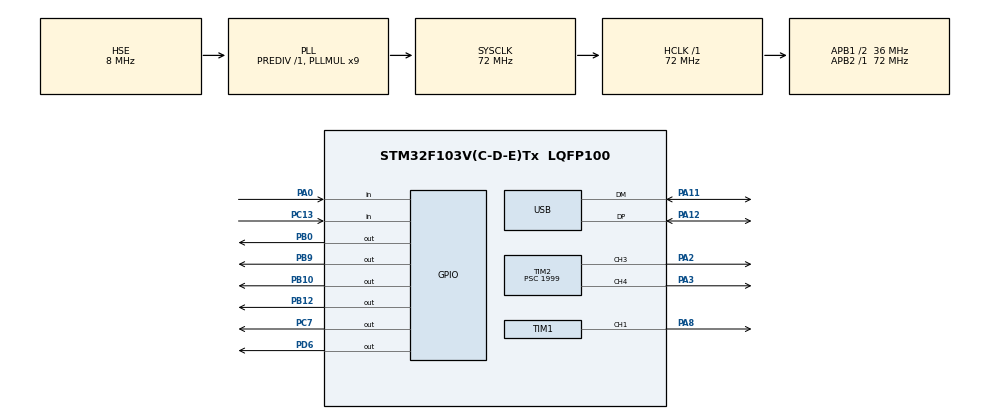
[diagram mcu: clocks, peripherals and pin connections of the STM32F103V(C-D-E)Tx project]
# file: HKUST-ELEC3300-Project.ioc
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Mcu.Family=STM32F1
Mcu.Name=STM32F103V(C-D-E)Tx
Mcu.Package=LQFP100
NVIC.PriorityGroup=NVIC_PRIORITYGROUP_4
NVIC.USB_LP_CAN1_RX0_IRQn=true\:0\:0\:false\:false\:true\:false\:true\:true
OSC_IN.Mode=HSE-External-Oscillator
OSC_IN.Signal=RCC_OSC_IN
OSC_OUT.Mode=HSE-External-Oscillator
OSC_OUT.Signal=RCC_OSC_OUT
PA0-WKUP.Signal=GPIO_Input
PA11.Mode=Device
PA11.Signal=USB_DM
PA12.Mode=Device
PA12.Signal=USB_DP
PA13.Mode=Serial_Wire
PA13.Signal=SYS_JTMS-SWDIO
PA14.Mode=Serial_Wire
PA14.Signal=SYS_JTCK-SWCLK
PA2.Signal=S_TIM2_CH3
PA3.Signal=S_TIM2_CH4
PA8.Signal=S_TIM1_CH1
PB0.Signal=GPIO_Output
PB10.GPIO_ModeDefaultOutputPP=GPIO_MODE_OUTPUT_PP
PB10.GPIO_PuPd=GPIO_NOPULL
PB10.Signal=GPIO_Output
PB12.GPIO_ModeDefaultOutputPP=GPIO_MODE_OUTPUT_PP
PB12.GPIO_PuPd=GPIO_NOPULL
PB12.Signal=GPIO_Output
PB9.Signal=GPIO_Output
PC13-TAMPER-RTC.Signal=GPIO_Input
PC14-OSC32_IN.Mode=LSE-External-Oscillator
PC14-OSC32_IN.Signal=RCC_OSC32_IN
PC15-OSC32_OUT.Mode=LSE-External-Oscillator
PC15-OSC32_OUT.Signal=RCC_OSC32_OUT
PC7.GPIO_ModeDefaultOutputPP=GPIO_MODE_OUTPUT_PP
PC7.GPIO_PuPd=GPIO_NOPULL
PC7.Signal=GPIO_Output
PD6.Signal=GPIO_Output
ProjectManager.HeapSize=0x200
ProjectManager.StackSize=0x400
ProjectManager.TargetToolchain=CMake
RCC.AHBFreq_Value=72000000
RCC.APB1CLKDivider=RCC_HCLK_DIV2
RCC.APB1Freq_Value=36000000
RCC.APB1TimFreq_Value=72000000
RCC.APB2Freq_Value=72000000
RCC.APB2TimFreq_Value=72000000
RCC.HCLKFreq_Value=72000000
RCC.PLLMUL=RCC_PLL_MUL9
RCC.PLLSourceVirtual=RCC_PLLSOURCE_HSE
RCC.RCC_MCOSource=RCC_MCO1SOURCE_PLLCLK
RCC.SYSCLKFreq_VALUE=72000000
RCC.SYSCLKSource=RCC_SYSCLKSOURCE_PLLCLK
RCC.USBFreq_Value=48000000
RCC.USBPrescaler=RCC_USBCLKSOURCE_PLL_DIV1_5
SH.S_TIM1_CH1.0=TIM1_CH1,PWM Generation1 CH1
SH.S_TIM2_CH3.0=TIM2_CH3,PWM Generation3 CH3
SH.S_TIM2_CH4.0=TIM2_CH4,PWM Generation4 CH4
TIM1.Channel-PWM\ Generation1\ CH1=TIM_CHANNEL_1
TIM1.Period=71
TIM1.Prescaler=1999
TIM1.Pulse-PWM\ Generation1\ CH1=36
TIM2.Channel-PWM\ Generation3\ CH3=TIM_CHANNEL_3
TIM2.Channel-PWM\ Generation4\ CH4=TIM_CHANNEL_4
TIM2.Period=71
TIM2.Prescaler=1999
TIM2.Pulse-PWM\ Generation3\ CH3=36
TIM2.Pulse-PWM\ Generation4\ CH4=36
USB_DEVICE.CLASS_NAME_FS=CDC
USB_DEVICE.VirtualMode=Cdc
USB_DEVICE.VirtualModeFS=Cdc_FS
VP_TIM1_VS_ClockSourceINT.Mode=Internal
VP_TIM2_VS_ClockSourceINT.Mode=Internal
VP_USB_DEVICE_VS_USB_DEVICE_CDC_FS.Mode=CDC_FS
board=custom

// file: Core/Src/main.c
/* USER CODE BEGIN Header */
/**
 ******************************************************************************
 * @file           : main.c
 * @brief          : Main program body
 ******************************************************************************
 * @attention
 *
 * Copyright (c) 2025 STMicroelectronics.
 * All rights reserved.
 *
 * This software is licensed under terms that can be found in the LICENSE file
 * in the root directory of this software component.
 * If no LICENSE file comes with this software, it is provided AS-IS.
 *
 ******************************************************************************
 */
/* USER CODE END Header */
#include "main.h"
#include "usb_device.h"

/* USER CODE BEGIN Includes */
#include <math.h>
#include <stdbool.h>
#include <stdlib.h>
#include <string.h>
#include "usbd_cdc_if.h"
#include "cJSON.h"
/* USER CODE END Includes */

/* USER CODE BEGIN PTD */

// Data structures for character information
// Data hierarchy:
// Document -> Segment -> Character -> Stroke -> Point
struct Point
{
  float x;
  float y;
}; // Point structure to represent coordinates

struct Stroke
{
  struct Point *points;
  int pointCount;
}; // Stroke structure to represent a series of points

struct Character
{
  bool is_line_feed;
  float advance_width;
  float left_side_bearing;
  struct Stroke *strokes;
  int strokeCount;
}; // Character structure to represent a character with its strokes

struct Segment
{
  float ascender;
  float descender;
  float line_gap;
  float paragraph_spacing;
  struct Character *characters;
  int characterCount;
}; // Segment structure to represent a segment of text with its characters

struct Document
{
  float page_width;
  float page_height;
  float top_margin;
  float bottom_margin;
  float left_margin;
  float right_margin;
  struct Segment *segments;
  int segmentCount;
}; // Document structure to represent a document with its segments

/* USER CODE END PTD */

/* USER CODE BEGIN PD */

// Motor directions
#define MOTOR_L_DIR GPIO_PIN_10 // B10
#define MOTOR_L_STEP GPIO_PIN_2 // A2
#define MOTOR_R_DIR GPIO_PIN_9  // B9
#define MOTOR_R_STEP GPIO_PIN_3 // A3
#define MOTOR_Z_DIR GPIO_PIN_12 // B12
#define MOTOR_Z_STEP GPIO_PIN_8 // A8

#define DIR_CW GPIO_PIN_SET
#define DIR_CCW GPIO_PIN_RESET
// #define DIR_STOP

#define DFLT_STEP_T 1
#define DFLT_STEP_FREQ 1000
#define DFLT_STEP_CYCLE 50

/* USER CODE END PD */

TIM_HandleTypeDef htim1;
TIM_HandleTypeDef htim2;

/* USER CODE BEGIN PV */

int32_t Global_X = 0;
int32_t Global_Y = 0;
// may use
// int32_t Relative_X = 0;
// int32_t Relative_Y = 0;

struct Document *currentDoc = NULL;
struct Character *currentChar = NULL;

float Doc_Global_X = 0;
float Doc_Global_Y = 0;
float scale = 5;
bool exceedLimit = false;

/* USER CODE END PV */

void SystemClock_Config(void);
static void MX_GPIO_Init(void);
static void MX_TIM1_Init(void);
static void MX_TIM2_Init(void);
/* USER CODE BEGIN PFP */
void penup();
void pendown();
void legacyMove(uint8_t direction, uint32_t time, uint8_t draw);

void moveToXY(float delta_X, float delta_Y);
void moveAngle(float distance, float angle);
void moveToAbsoluteXY(int32_t target_X, int32_t target_Y);
void motorControl(int32_t delta_MotorL, int32_t delta_MotorR);
void updateGlobalXY(float delta_X, float delta_Y);

// DISCARED: due to very limited ram in the stm32 chip,
//           it is impossible to allocate a large array for the document

// void drawDocument(struct Document *document);
// void drawSegment(struct Segment *segment, float *Global_X, float *Global_Y, float page_width, float page_height, float top_margin, float bottom_margin, float left_margin, float right_margin, float scale);
void drawCharacter(struct Character *character, float startX, float startY, float scale);
void drawStroke(struct Stroke *stroke);

void freeAllData(struct Document *document);
void freeDocument(struct Document *document);
void freeSegment(struct Segment *segment);
void freeCharacter(struct Character *character);
void freeStroke(struct Stroke *stroke);

bool initDocument(struct Document *document, float page_width, float page_height, float top_margin, float bottom_margin, float left_margin, float right_margin, struct Segment *segments, int segmentCount);
bool initSegment(struct Segment *segment, float ascender, float descender, float line_gap, float paragraph_spacing, struct Character *characters, int characterCount);
bool initCharacter(struct Character *character, bool is_line_feed, float advance_width, float left_side_bearing, struct Stroke *strokes, int strokeCount);
bool initStroke(struct Stroke *stroke, struct Point *points, int pointCount);

void drawFu();
void drawCircle();
void drawRegularPentagon();
// void drawOneStrokeFromDoc();

bool parseDocument(struct Document *document, cJSON *json);
bool parseSegment(struct Segment *segment, cJSON *json);
bool parseCharacter(struct Character *character, cJSON *json);
void processInfo(uint8_t *buffer, uint16_t length);
void processChar(uint8_t *buffer, uint16_t length);
// void processRpcRequest(uint8_t *buffer, uint16_t length);
/* USER CODE END PFP */

int main(void)
{

  /* MCU Configuration--------------------------------------------------------*/

  /* Reset of all peripherals, Initializes the Flash interface and the Systick. */
  HAL_Init();

  /* Configure the system clock */
  SystemClock_Config();

  /* Initialize all configured peripherals */
  MX_GPIO_Init();
  MX_TIM1_Init();
  MX_TIM2_Init();
  MX_USB_DEVICE_Init();
  /* USER CODE BEGIN 2 */
  HAL_GPIO_WritePin(GPIOB, GPIO_PIN_0, GPIO_PIN_SET);
  HAL_GPIO_WritePin(GPIOC, GPIO_PIN_7, GPIO_PIN_RESET); // enable
  penup();
  moveToXY(100, 0);
  moveToXY(-100, 0);
  moveToXY(0, -100);
  moveToXY(0, 100);
  pendown();
  HAL_GPIO_WritePin(GPIOC, GPIO_PIN_7, GPIO_PIN_SET); // disable
  /* USER CODE END 2 */

  /* Infinite loop */
  /* USER CODE BEGIN WHILE */
  while (1)
  {
    // 写字结束 // Anchor
    if ((!infoReceived && currentDoc != NULL) || exceedLimit)
    {
      freeAllData(currentDoc);
      currentDoc = NULL;
      if (currentChar != NULL)
      {
        freeCharacter(currentChar);
        free(currentChar);
        currentChar = NULL;
      }
      charBufferIndex = 0;
      infoBufferIndex = 0;
      Global_X = 0;
      Global_Y = 0;
      Doc_Global_X = 0;
      Doc_Global_Y = 0;
      infoReceived = false;
      charReceived = false; // Fix? : charReceived was never reset
      exceedLimit = false;
      HAL_GPIO_WritePin(GPIOB, GPIO_PIN_0, GPIO_PIN_SET); // LED off
      HAL_GPIO_WritePin(GPIOC, GPIO_PIN_7, GPIO_PIN_SET); // disable
    }
    // 刚接收完 info
    if (infoReceived && currentDoc == NULL && !charReceived)
    {
      processInfo(infoBuffer, infoBufferIndex);
      infoBufferIndex = 0;
      HAL_GPIO_WritePin(GPIOC, GPIO_PIN_7, GPIO_PIN_RESET); // enable
      HAL_GPIO_WritePin(GPIOB, GPIO_PIN_0, GPIO_PIN_RESET); // LED on
      // 以下仿照 drawDocuments 函数
      Doc_Global_X = currentDoc->left_margin;
      Doc_Global_Y = -(currentDoc->top_margin);
      penup();
      charBufferIndex = 0;
      CDC_Transmit_FS(READY, 6);
    }
    // 刚接收完 char
    if (infoReceived && currentDoc != NULL && charReceived)
    {
      processChar(charBuffer, charBufferIndex);
      charBufferIndex = 0;
      // 以下仿照 drawSegments 函数
      Doc_Global_Y -= currentDoc->segments[0].ascender;
      // 超出右边距或者字符是回车，换行
      if (Doc_Global_X + currentChar->advance_width >= currentDoc->page_width - currentDoc->right_margin || currentChar->is_line_feed)
      {
        Doc_Global_X = currentDoc->left_margin;
        Doc_Global_Y -= (currentDoc->segments[0].ascender + currentDoc->segments[0].descender + currentDoc->segments[0].line_gap);
        // 超出 bottom_margin，准备结束
        if (Doc_Global_Y - currentDoc->segments[0].descender < -(currentDoc->page_height - currentDoc->bottom_margin))
        {
          if (currentChar != NULL)
          {
            freeCharacter(currentChar);
            free(currentChar);
            currentChar = NULL;
          }
          charReceived = false;
          exceedLimit = true;
          continue;
        }
      }
      // 超出右边距也不能吞字
      if (!(currentChar->is_line_feed))
      {
        drawCharacter(currentChar, Doc_Global_X, Doc_Global_Y, scale);
        Doc_Global_X += currentChar->advance_width;
      }
      Doc_Global_Y += currentDoc->segments[0].ascender;
      if (currentChar != NULL)
      {
        freeCharacter(currentChar);
        free(currentChar);
        currentChar = NULL;
      }
      charReceived = false;
      CDC_Transmit_FS(READY, 6);
    }
    if (HAL_GPIO_ReadPin(GPIOA, GPIO_PIN_0))
    {
      drawFu();
      Global_X = 0;
      Global_Y = 0;
      Doc_Global_X = 0;
      Doc_Global_Y = 0;
    }
    if (HAL_GPIO_ReadPin(GPIOC, GPIO_PIN_13))
    {
      drawCircle();
      drawRegularPentagon();
      Global_X = 0;
      Global_Y = 0;
      Doc_Global_X = 0;
      Doc_Global_Y = 0;
    }
    /* USER CODE END WHILE */

  }
}

void SystemClock_Config(void)
{
  RCC_OscInitTypeDef RCC_OscInitStruct = {0};
  RCC_ClkInitTypeDef RCC_ClkInitStruct = {0};
  RCC_PeriphCLKInitTypeDef PeriphClkInit = {0};

  /** Initializes the RCC Oscillators according to the specified parameters
  * in the RCC_OscInitTypeDef structure.
  */
  RCC_OscInitStruct.OscillatorType = RCC_OSCILLATORTYPE_HSE;
  RCC_OscInitStruct.HSEState = RCC_HSE_ON;
  RCC_OscInitStruct.HSEPredivValue = RCC_HSE_PREDIV_DIV1;
  RCC_OscInitStruct.HSIState = RCC_HSI_ON;
  RCC_OscInitStruct.PLL.PLLState = RCC_PLL_ON;
  RCC_OscInitStruct.PLL.PLLSource = RCC_PLLSOURCE_HSE;
  RCC_OscInitStruct.PLL.PLLMUL = RCC_PLL_MUL9;
  if (HAL_RCC_OscConfig(&RCC_OscInitStruct) != HAL_OK)
  {
    Error_Handler();
  }

  /** Initializes the CPU, AHB and APB buses clocks
  */
  RCC_ClkInitStruct.ClockType = RCC_CLOCKTYPE_HCLK|RCC_CLOCKTYPE_SYSCLK
                              |RCC_CLOCKTYPE_PCLK1|RCC_CLOCKTYPE_PCLK2;
  RCC_ClkInitStruct.SYSCLKSource = RCC_SYSCLKSOURCE_PLLCLK;
  RCC_ClkInitStruct.AHBCLKDivider = RCC_SYSCLK_DIV1;
  RCC_ClkInitStruct.APB1CLKDivider = RCC_HCLK_DIV2;
  RCC_ClkInitStruct.APB2CLKDivider = RCC_HCLK_DIV1;

  if (HAL_RCC_ClockConfig(&RCC_ClkInitStruct, FLASH_LATENCY_2) != HAL_OK)
  {
    Error_Handler();
  }
  PeriphClkInit.PeriphClockSelection = RCC_PERIPHCLK_USB;
  PeriphClkInit.UsbClockSelection = RCC_USBCLKSOURCE_PLL_DIV1_5;
  if (HAL_RCCEx_PeriphCLKConfig(&PeriphClkInit) != HAL_OK)
  {
    Error_Handler();
  }
}

static void MX_TIM1_Init(void)
{

  TIM_ClockConfigTypeDef sClockSourceConfig = {0};
  TIM_MasterConfigTypeDef sMasterConfig = {0};
  TIM_OC_InitTypeDef sConfigOC = {0};
  TIM_BreakDeadTimeConfigTypeDef sBreakDeadTimeConfig = {0};

  htim1.Instance = TIM1;
  htim1.Init.Prescaler = 1999;
  htim1.Init.CounterMode = TIM_COUNTERMODE_UP;
  htim1.Init.Period = 71;
  htim1.Init.ClockDivision = TIM_CLOCKDIVISION_DIV1;
  htim1.Init.RepetitionCounter = 0;
  htim1.Init.AutoReloadPreload = TIM_AUTORELOAD_PRELOAD_DISABLE;
  if (HAL_TIM_Base_Init(&htim1) != HAL_OK)
  {
    Error_Handler();
  }
  sClockSourceConfig.ClockSource = TIM_CLOCKSOURCE_INTERNAL;
  if (HAL_TIM_ConfigClockSource(&htim1, &sClockSourceConfig) != HAL_OK)
  {
    Error_Handler();
  }
  if (HAL_TIM_PWM_Init(&htim1) != HAL_OK)
  {
    Error_Handler();
  }
  sMasterConfig.MasterOutputTrigger = TIM_TRGO_RESET;
  sMasterConfig.MasterSlaveMode = TIM_MASTERSLAVEMODE_DISABLE;
  if (HAL_TIMEx_MasterConfigSynchronization(&htim1, &sMasterConfig) != HAL_OK)
  {
    Error_Handler();
  }
  sConfigOC.OCMode = TIM_OCMODE_PWM1;
  sConfigOC.Pulse = 36;
  sConfigOC.OCPolarity = TIM_OCPOLARITY_HIGH;
  sConfigOC.OCNPolarity = TIM_OCNPOLARITY_HIGH;
  sConfigOC.OCFastMode = TIM_OCFAST_DISABLE;
  sConfigOC.OCIdleState = TIM_OCIDLESTATE_RESET;
  sConfigOC.OCNIdleState = TIM_OCNIDLESTATE_RESET;
  if (HAL_TIM_PWM_ConfigChannel(&htim1, &sConfigOC, TIM_CHANNEL_1) != HAL_OK)
  {
    Error_Handler();
  }
  sBreakDeadTimeConfig.OffStateRunMode = TIM_OSSR_DISABLE;
  sBreakDeadTimeConfig.OffStateIDLEMode = TIM_OSSI_DISABLE;
  sBreakDeadTimeConfig.LockLevel = TIM_LOCKLEVEL_OFF;
  sBreakDeadTimeConfig.DeadTime = 0;
  sBreakDeadTimeConfig.BreakState = TIM_BREAK_DISABLE;
  sBreakDeadTimeConfig.BreakPolarity = TIM_BREAKPOLARITY_HIGH;
  sBreakDeadTimeConfig.AutomaticOutput = TIM_AUTOMATICOUTPUT_DISABLE;
  if (HAL_TIMEx_ConfigBreakDeadTime(&htim1, &sBreakDeadTimeConfig) != HAL_OK)
  {
    Error_Handler();
  }
  HAL_TIM_MspPostInit(&htim1);

}

static void MX_TIM2_Init(void)
{

  TIM_ClockConfigTypeDef sClockSourceConfig = {0};
  TIM_MasterConfigTypeDef sMasterConfig = {0};
  TIM_OC_InitTypeDef sConfigOC = {0};

  htim2.Instance = TIM2;
  htim2.Init.Prescaler = 1999;
  htim2.Init.CounterMode = TIM_COUNTERMODE_UP;
  htim2.Init.Period = 71;
  htim2.Init.ClockDivision = TIM_CLOCKDIVISION_DIV1;
  htim2.Init.AutoReloadPreload = TIM_AUTORELOAD_PRELOAD_DISABLE;
  if (HAL_TIM_Base_Init(&htim2) != HAL_OK)
  {
    Error_Handler();
  }
  sClockSourceConfig.ClockSource = TIM_CLOCKSOURCE_INTERNAL;
  if (HAL_TIM_ConfigClockSource(&htim2, &sClockSourceConfig) != HAL_OK)
  {
    Error_Handler();
  }
  if (HAL_TIM_PWM_Init(&htim2) != HAL_OK)
  {
    Error_Handler();
  }
  sMasterConfig.MasterOutputTrigger = TIM_TRGO_RESET;
  sMasterConfig.MasterSlaveMode = TIM_MASTERSLAVEMODE_DISABLE;
  if (HAL_TIMEx_MasterConfigSynchronization(&htim2, &sMasterConfig) != HAL_OK)
  {
    Error_Handler();
  }
  sConfigOC.OCMode = TIM_OCMODE_PWM1;
  sConfigOC.Pulse = 36;
  sConfigOC.OCPolarity = TIM_OCPOLARITY_HIGH;
  sConfigOC.OCFastMode = TIM_OCFAST_DISABLE;
  if (HAL_TIM_PWM_ConfigChannel(&htim2, &sConfigOC, TIM_CHANNEL_3) != HAL_OK)
  {
    Error_Handler();
  }
  if (HAL_TIM_PWM_ConfigChannel(&htim2, &sConfigOC, TIM_CHANNEL_4) != HAL_OK)
  {
    Error_Handler();
  }
  HAL_TIM_MspPostInit(&htim2);

}

static void MX_GPIO_Init(void)
{
  GPIO_InitTypeDef GPIO_InitStruct = {0};

  /* GPIO Ports Clock Enable */
  __HAL_RCC_GPIOC_CLK_ENABLE();
  __HAL_RCC_GPIOA_CLK_ENABLE();
  __HAL_RCC_GPIOB_CLK_ENABLE();
  __HAL_RCC_GPIOD_CLK_ENABLE();

  /*Configure GPIO pin Output Level */
  HAL_GPIO_WritePin(GPIOB, GPIO_PIN_0|GPIO_PIN_10|GPIO_PIN_12|GPIO_PIN_9, GPIO_PIN_RESET);

  /*Configure GPIO pin Output Level */
  HAL_GPIO_WritePin(GPIOC, GPIO_PIN_7, GPIO_PIN_RESET);

  /*Configure GPIO pin Output Level */
  HAL_GPIO_WritePin(GPIOD, GPIO_PIN_6, GPIO_PIN_RESET);

  /*Configure GPIO pin : PC13 */
  GPIO_InitStruct.Pin = GPIO_PIN_13;
  GPIO_InitStruct.Mode = GPIO_MODE_INPUT;
  GPIO_InitStruct.Pull = GPIO_NOPULL;
  HAL_GPIO_Init(GPIOC, &GPIO_InitStruct);

  /*Configure GPIO pin : PA0 */
  GPIO_InitStruct.Pin = GPIO_PIN_0;
  GPIO_InitStruct.Mode = GPIO_MODE_INPUT;
  GPIO_InitStruct.Pull = GPIO_NOPULL;
  HAL_GPIO_Init(GPIOA, &GPIO_InitStruct);

  /*Configure GPIO pins : PB0 PB10 PB12 PB9 */
  GPIO_InitStruct.Pin = GPIO_PIN_0|GPIO_PIN_10|GPIO_PIN_12|GPIO_PIN_9;
  GPIO_InitStruct.Mode = GPIO_MODE_OUTPUT_PP;
  GPIO_InitStruct.Pull = GPIO_NOPULL;
  GPIO_InitStruct.Speed = GPIO_SPEED_FREQ_LOW;
  HAL_GPIO_Init(GPIOB, &GPIO_InitStruct);

  /*Configure GPIO pin : PC7 */
  GPIO_InitStruct.Pin = GPIO_PIN_7;
  GPIO_InitStruct.Mode = GPIO_MODE_OUTPUT_PP;
  GPIO_InitStruct.Pull = GPIO_NOPULL;
  GPIO_InitStruct.Speed = GPIO_SPEED_FREQ_LOW;
  HAL_GPIO_Init(GPIOC, &GPIO_InitStruct);

  /*Configure GPIO pin : PD6 */
  GPIO_InitStruct.Pin = GPIO_PIN_6;
  GPIO_InitStruct.Mode = GPIO_MODE_OUTPUT_PP;
  GPIO_InitStruct.Pull = GPIO_NOPULL;
  GPIO_InitStruct.Speed = GPIO_SPEED_FREQ_LOW;
  HAL_GPIO_Init(GPIOD, &GPIO_InitStruct);

}

/* USER CODE BEGIN 4 */

//
// Discrete stepper motor control
//

void drawFu()
{
  HAL_GPIO_WritePin(GPIOC, GPIO_PIN_7, GPIO_PIN_RESET); // enable

  // legacyMove(3, 3000, 1);
  moveAngle(375, 315);
  HAL_TIM_PWM_Start(&htim1, TIM_CHANNEL_1);
  HAL_Delay(5);
  HAL_TIM_PWM_Stop(&htim1, TIM_CHANNEL_1);
  HAL_Delay(45);
  // legacyMove(5, 3000, 1);
  moveAngle(375, 225);
  HAL_TIM_PWM_Start(&htim1, TIM_CHANNEL_1);
  HAL_Delay(5);
  HAL_TIM_PWM_Stop(&htim1, TIM_CHANNEL_1);
  HAL_Delay(45);
  // legacyMove(7, 3000, 1);
  moveAngle(375, 135);
  HAL_TIM_PWM_Start(&htim1, TIM_CHANNEL_1);
  HAL_Delay(5);
  HAL_TIM_PWM_Stop(&htim1, TIM_CHANNEL_1);
  HAL_Delay(45);
  // legacyMove(1, 3000, 1);
  moveAngle(375, 45);
  HAL_TIM_PWM_Start(&htim1, TIM_CHANNEL_1);
  HAL_Delay(5);
  HAL_TIM_PWM_Stop(&htim1, TIM_CHANNEL_1);
  HAL_Delay(45);

  penup();
  HAL_Delay(50);
  // legacyMove(4, 871, 0);
  moveAngle(174, 270);
  HAL_Delay(50);
  // legacyMove(6, 400, 0);
  moveAngle(80, 180);
  HAL_Delay(50);

  pendown();
  HAL_Delay(50);
  // legacyMove(2, 300, 1);
  moveAngle(60, 0);
  HAL_Delay(50);

  penup();
  HAL_Delay(50);
  // legacyMove(4, 200, 0);
  moveAngle(40, 270);
  HAL_Delay(50);
  // legacyMove(6, 450, 0);
  moveAngle(90, 180);
  HAL_Delay(50);

  pendown();
  HAL_Delay(50);
  // legacyMove(2, 500, 1);
  moveAngle(100, 0);
  HAL_Delay(50);

  penup();
  HAL_Delay(50);
  // legacyMove(6, 200, 0);
  moveAngle(40, 180);
  HAL_Delay(50);

  pendown();
  HAL_Delay(50);
  // legacyMove(4, 900, 1);
  moveAngle(180, 270);
  HAL_Delay(50);

  penup();
  HAL_Delay(50);
  // legacyMove(0, 650, 0);
  moveAngle(130, 90);
  HAL_Delay(50);
  // legacyMove(6, 150, 0);
  moveAngle(50, 180);
  HAL_Delay(50);

  pendown();
  HAL_Delay(50);
  // legacyMove(4, 350, 1);
  moveAngle(70, 270);
  HAL_Delay(50);

  penup();
  HAL_Delay(50);
  // legacyMove(0, 350, 0);
  moveAngle(70, 90);
  HAL_Delay(50);
  // legacyMove(2, 300, 0);
  moveAngle(60, 0);
  HAL_Delay(50);

  pendown();
  HAL_Delay(50);
  // legacyMove(4, 350, 1);
  moveAngle(70, 270);
  HAL_Delay(50);

  penup();
  HAL_Delay(50);
  // legacyMove(2, 200, 0);
  moveAngle(40, 0);
  HAL_Delay(50);
  // legacyMove(0, 825, 0);
  moveAngle(165, 90);
  HAL_Delay(50);

  pendown();
  HAL_Delay(50);
  // legacyMove(2, 400, 1);
  moveAngle(80, 0);
  HAL_Delay(50);

  penup();
  HAL_Delay(50);
  // legacyMove(6, 50, 0);
  moveAngle(10, 180);
  HAL_Delay(50);
  // legacyMove(4, 150, 0);
  moveAngle(30, 270);
  HAL_Delay(50);

  pendown();
  HAL_Delay(50);
  // legacyMove(4, 200, 1);
  moveAngle(40, 270);
  HAL_Delay(50);
  // legacyMove(6, 300, 1);
  moveAngle(60, 180);
  HAL_Delay(50);
  // legacyMove(0, 200, 1);
  moveAngle(40, 90);
  HAL_Delay(50);
  // legacyMove(2, 300, 1);
  moveAngle(60, 0);
  HAL_Delay(50);

  penup();
  HAL_Delay(50);
  // legacyMove(4, 350, 0);
  moveAngle(70, 270);
  HAL_Delay(50);
  // legacyMove(2, 100, 0);
  moveAngle(20, 0);
  HAL_Delay(150);

  pendown();
  HAL_Delay(50);
  // legacyMove(4, 500, 1);
  moveAngle(100, 270);
  HAL_Delay(50);
  // legacyMove(6, 500, 1);
  moveAngle(100, 180);
  HAL_Delay(50);
  // legacyMove(0, 500, 1);
  moveAngle(100, 90);
  HAL_Delay(50);
  // legacyMove(2, 500, 1);
  moveAngle(100, 0);
  HAL_Delay(50);

  penup();
  HAL_Delay(50);
  // legacyMove(6, 500, 0);
  moveAngle(100, 180);
  HAL_Delay(50);
  // legacyMove(4, 225, 0);
  moveAngle(45, 270);
  HAL_Delay(50);

  pendown();
  HAL_Delay(50);
  // legacyMove(2, 500, 1);
  moveAngle(100, 0);
  HAL_Delay(50);

  penup();
  HAL_Delay(50);
  // legacyMove(0, 225, 0);
  moveAngle(45, 90);
  HAL_Delay(50);
  // legacyMove(6, 225, 0);
  moveAngle(45, 180);
  HAL_Delay(50);

  pendown();
  HAL_Delay(50);
  // legacyMove(4, 500, 1);
  moveAngle(100, 270);

  HAL_GPIO_WritePin(GPIOC, GPIO_PIN_7, GPIO_PIN_SET); // disable
}

void drawCircle()
{
  HAL_GPIO_WritePin(GPIOC, GPIO_PIN_7, GPIO_PIN_RESET); // enable

  for (int i = 0; i < 180; i++)
  {
    if (!(i % 30))
    {
      HAL_GPIO_WritePin(GPIOB, MOTOR_Z_DIR, GPIO_PIN_SET);
      HAL_TIM_PWM_Start(&htim1, TIM_CHANNEL_1);
      HAL_Delay(5);
      HAL_TIM_PWM_Stop(&htim1, TIM_CHANNEL_1);
    }
    moveAngle(5, i * 2);
  }

  HAL_GPIO_WritePin(GPIOC, GPIO_PIN_7, GPIO_PIN_SET); // disable
}

void drawRegularPentagon()
{
  HAL_GPIO_WritePin(GPIOC, GPIO_PIN_7, GPIO_PIN_RESET); // enable

  for (int i = 0; i < 5; i++)
  {
    HAL_GPIO_WritePin(GPIOB, MOTOR_Z_DIR, GPIO_PIN_SET);
    HAL_TIM_PWM_Start(&htim1, TIM_CHANNEL_1);
    HAL_Delay(5);
    HAL_TIM_PWM_Stop(&htim1, TIM_CHANNEL_1);
    moveAngle(160, (float)i * 360 / 5);
  }

  HAL_GPIO_WritePin(GPIOC, GPIO_PIN_7, GPIO_PIN_SET); // disable
}

void penup()
{
  HAL_GPIO_WritePin(GPIOB, MOTOR_Z_DIR, GPIO_PIN_RESET);
  HAL_TIM_PWM_Start(&htim1, TIM_CHANNEL_1);
  HAL_Delay(100);
  HAL_TIM_PWM_Stop(&htim1, TIM_CHANNEL_1);
}

void pendown()
{
  HAL_GPIO_WritePin(GPIOB, MOTOR_Z_DIR, GPIO_PIN_SET);
  HAL_TIM_PWM_Start(&htim1, TIM_CHANNEL_1);
  HAL_Delay(100);
  HAL_TIM_PWM_Stop(&htim1, TIM_CHANNEL_1);
}

void legacyMove(uint8_t direction, uint32_t time, uint8_t draw)
{
  uint32_t tick = HAL_GetTick();
  if (draw)
  {
    HAL_GPIO_WritePin(GPIOB, GPIO_PIN_10, GPIO_PIN_SET);
    while (HAL_GetTick() - tick < 5)
    {
      HAL_GPIO_TogglePin(GPIOB, GPIO_PIN_11);
      HAL_Delay(1);
    }
  }
  switch (direction)
  {
  // 上
  case 0:
    HAL_GPIO_WritePin(GPIOB, GPIO_PIN_14, GPIO_PIN_RESET);
    HAL_GPIO_WritePin(GPIOB, GPIO_PIN_12, GPIO_PIN_SET);
    while (HAL_GetTick() - tick < time + 50)
    {
      HAL_GPIO_TogglePin(GPIOB, GPIO_PIN_15);
      HAL_GPIO_TogglePin(GPIOB, GPIO_PIN_13);
      HAL_Delay(1);
    }
    break;

  // 右上 1
  case 1:
    HAL_GPIO_WritePin(GPIOB, GPIO_PIN_12, GPIO_PIN_SET);
    while (HAL_GetTick() - tick < time + 50)
    {
      HAL_GPIO_TogglePin(GPIOB, GPIO_PIN_13);
      HAL_Delay(1);
    }
    break;

  // 右
  case 2:
    HAL_GPIO_WritePin(GPIOB, GPIO_PIN_14, GPIO_PIN_SET);
    HAL_GPIO_WritePin(GPIOB, GPIO_PIN_12, GPIO_PIN_SET);
    while (HAL_GetTick() - tick < time + 50)
    {
      HAL_GPIO_TogglePin(GPIOB, GPIO_PIN_15);
      HAL_GPIO_TogglePin(GPIOB, GPIO_PIN_13);
      HAL_Delay(1);
    }
    break;

  // 右下 1
  case 3:
    HAL_GPIO_WritePin(GPIOB, GPIO_PIN_14, GPIO_PIN_SET);
    while (HAL_GetTick() - tick < time + 50)
    {
      HAL_GPIO_TogglePin(GPIOB, GPIO_PIN_15);
      HAL_Delay(1);
    }
    break;

  // 下
  case 4:
    HAL_GPIO_WritePin(GPIOB, GPIO_PIN_14, GPIO_PIN_SET);
    HAL_GPIO_WritePin(GPIOB, GPIO_PIN_12, GPIO_PIN_RESET);
    while (HAL_GetTick() - tick < time + 50)
    {
      HAL_GPIO_TogglePin(GPIOB, GPIO_PIN_15);
      HAL_GPIO_TogglePin(GPIOB, GPIO_PIN_13);
      HAL_Delay(1);
    }
    break;

  // 左下
  case 5:
    HAL_GPIO_WritePin(GPIOB, GPIO_PIN_12, GPIO_PIN_RESET);
    while (HAL_GetTick() - tick < time + 50)
    {
      HAL_GPIO_TogglePin(GPIOB, GPIO_PIN_13);
      HAL_Delay(1);
    }
    break;

  // 左
  case 6:
    HAL_GPIO_WritePin(GPIOB, GPIO_PIN_14, GPIO_PIN_RESET);
    HAL_GPIO_WritePin(GPIOB, GPIO_PIN_12, GPIO_PIN_RESET);
    while (HAL_GetTick() - tick < time + 50)
    {
      HAL_GPIO_TogglePin(GPIOB, GPIO_PIN_15);
      HAL_GPIO_TogglePin(GPIOB, GPIO_PIN_13);
      HAL_Delay(1);
    }
    break;

  // 左上
  case 7:
    HAL_GPIO_WritePin(GPIOB, GPIO_PIN_14, GPIO_PIN_RESET);
    while (HAL_GetTick() - tick < time + 50)
    {
      HAL_GPIO_TogglePin(GPIOB, GPIO_PIN_15);
      HAL_Delay(1);
    }
    break;
  }
}

//
// Quick search:
// TODO; CAUTION; PROBLEM
// WARNING; BAD
// Update; Fix?
//

//
// Continuous (stepping) motor controls
//

// WARNING:
//  float are supported, but steps and Global Pos are int32_t, relative error will accumulate
void moveToXY(float delta_X, float delta_Y)
{
  // quantize to steps (default scenrio: L = CCW, R = STOP)
  int32_t delta_MotorL = (int32_t)(delta_X + delta_Y);
  int32_t delta_MotorR = (int32_t)(delta_X - delta_Y);

  motorControl(delta_MotorL, delta_MotorR);

  updateGlobalXY(delta_X, delta_Y);
}

void moveAngle(float distance, float angle)
{
  float delta_X = distance * cos(angle * M_PI / 180.0f);
  float delta_Y = distance * sin(angle * M_PI / 180.0f);

  moveToXY(delta_X, delta_Y);
}

void moveToAbsoluteXY(int32_t target_X, int32_t target_Y)
{
  // calculate deltas
  float delta_X = target_X - Global_X;
  float delta_Y = target_Y - Global_Y;

  moveToXY(delta_X, delta_Y);
}

void motorControl(int32_t delta_MotorL, int32_t delta_MotorR)
{
  // motor directions
  int8_t dirL = (delta_MotorL > 0) ? DIR_CW : DIR_CCW;
  int8_t dirR = (delta_MotorR > 0) ? DIR_CW : DIR_CCW;
  HAL_GPIO_WritePin(GPIOB, MOTOR_L_DIR, dirL);
  HAL_GPIO_WritePin(GPIOB, MOTOR_R_DIR, dirR);

  // absolute steps count // to determine which axis for base step
  int32_t stepsL = (delta_MotorL > 0) ? delta_MotorL : -delta_MotorL;
  int32_t stepsR = (delta_MotorR > 0) ? delta_MotorR : -delta_MotorR;
  int32_t maxSteps = (stepsL > stepsR) ? stepsL : stepsR;
  if (stepsL == 0 && stepsR == 0)
    return; // no movement

  // Activate PWM channels for hardware pulse generation
  HAL_TIM_PWM_Start(&htim2, TIM_CHANNEL_3); // motorL
  HAL_TIM_PWM_Start(&htim2, TIM_CHANNEL_4); // motorR
  // start with 0% duty cycle
  __HAL_TIM_SET_COMPARE(&htim2, TIM_CHANNEL_3, 0);
  __HAL_TIM_SET_COMPARE(&htim2, TIM_CHANNEL_4, 0);

  //
  int32_t remainingStepsL = stepsL;
  int32_t remainingStepsR = stepsR;

  // Bresenham's line algorithm
  // Basic:
  // move using unit-length of the longer axis, then apply change of the other axis with error accumulation.
  // set unit-length of the longer axis to aviod sharp jumps.
  // Mutation:
  // half steps for each and have the algo in both motor, error threshold is maxSteps.
  // check threshold for each, apply change and sutract error if threshold is reached.
  // increment absolute steps into error each iteration.
  int32_t error_L = maxSteps / 2;
  int32_t error_R = maxSteps / 2;

  for (int i = 0; i < maxSteps; i++)
  {
    bool motorL_working = false;
    bool motorR_working = false;

    // left motor should step?
    if (error_L >= stepsL)
    {
      if (remainingStepsL > 0)
      {
        // Lagacy: delay stepping
        // HAL_GPIO_WritePin(GPIOB, MOTOR_L_STEP, GPIO_PIN_SET);
        // HAL_Delay(DFLT_STEP_T);
        // HAL_GPIO_WritePin(GPIOB, MOTOR_L_STEP, GPIO_PIN_RESET);

        // PWM stepping
        motorL_working = true;
        remainingStepsL--;
      }
      error_L -= maxSteps;
    }
    // right motor should step?
    if (error_R >= stepsR)
    {
      if (remainingStepsR > 0)
      {
        // Lagacy: delay stepping
        // HAL_GPIO_WritePin(GPIOB, MOTOR_R_STEP, GPIO_PIN_SET);
        // HAL_Delay(DFLT_STEP_T);
        // HAL_GPIO_WritePin(GPIOB, MOTOR_R_STEP, GPIO_PIN_RESET);

        // PWM stepping
        motorR_working = true;
        remainingStepsR--;
      }
      error_R -= maxSteps;
    }
    // update error
    error_L += stepsL;
    error_R += stepsR;

    // PWM stepping
    if (motorL_working)
    {
      // PWM 50% (72)
      __HAL_TIM_SET_COMPARE(&htim2, TIM_CHANNEL_3, 36);
    }
    else
    {
      //  PWM 0%
      __HAL_TIM_SET_COMPARE(&htim2, TIM_CHANNEL_3, 0);
    }

    if (motorR_working)
    {
      // PWM 50% (72)
      __HAL_TIM_SET_COMPARE(&htim2, TIM_CHANNEL_4, 36);
    }
    else
    {
      //  PWM 0%
      __HAL_TIM_SET_COMPARE(&htim2, TIM_CHANNEL_4, 0);
    }

    HAL_Delay(1);
  }

  // stop PWM channels
  __HAL_TIM_SET_COMPARE(&htim2, TIM_CHANNEL_3, 0);
  __HAL_TIM_SET_COMPARE(&htim2, TIM_CHANNEL_4, 0);
  HAL_TIM_PWM_Stop(&htim2, TIM_CHANNEL_3);
  HAL_TIM_PWM_Stop(&htim2, TIM_CHANNEL_4);
}

// WARNING:
// deltas can be floats, steps and Global positions are int32_t
// steps are time dependent, overtime relative error will accumulate
void updateGlobalXY(float delta_X, float delta_Y)
{
  Global_X += (int32_t)delta_X;
  Global_Y += (int32_t)delta_Y;
}

//
// document handling
//
// work flow:
// 1. Document: Starting at page margins and working through segments
// 2. Segment: Group up characters
// 3. Character: Calculate starting position, Set up to strokes
// 4. Stroke: Move through subsequent points
//
// amement: page function discarded, there is no auto paper feeder for that
//

// !!!!!!!!!!!!!!!!!!!!!!!!!!!!!!!!!!!!!!!!!!!!!!!!!!!!!!!!!!!!!!!!!!!!!
// DISCARED: due to very limited ram in the stm32 chip,
//           it is impossible to allocate a large array for the document
// !!!!!!!!!!!!!!!!!!!!!!!!!!!!!!!!!!!!!!!!!!!!!!!!!!!!!!!!!!!!!!!!!!!!!

// PROBLEM:
// The coordinate systems is not sattled yet.
// having negative Y or not affects greatly on line changing.
// where the origin is, to be defined

// void drawDocument(struct Document *document)
// {
//   HAL_GPIO_WritePin(GPIOB, GPIO_PIN_1, GPIO_PIN_RESET);
//   // set the starting position at the top left corner of the page
//   float Global_X = document->left_margin;
//   float Global_Y = -(document->top_margin);
//   float scale = 5; // 1 step = 0.2 mm

//   penup();
//   // iterate through each segment in the document
//   for (int i = 0; i < document->segmentCount; i++)
//   {
//     struct Segment *segment = &document->segments[i];

//     // check if the segment is empty
//     if (segment->characterCount > 0)
//     {
//       // draw the segment at the current position
//       drawSegment(segment, &Global_X, &Global_Y, document->page_width, document->page_height, document->top_margin, document->bottom_margin, document->left_margin, document->right_margin, scale);
//     }
//   }
// }

// void drawSegment(struct Segment *segment, float *Global_X,
//                  float *Global_Y, float page_width,
//                  float page_height, float top_margin,
//                  float bottom_margin, float left_margin,
//                  float right_margin, float scale)
// {
//   float current_X = *Global_X;
//   float current_Y = *Global_Y - segment->ascender;

//   for (int i = 0; i < segment->characterCount; i++)
//   {
//     struct Character *character = &segment->characters[i];

//     // check if a new line is needed
//     if (current_X + character->advance_width >= page_width - right_margin || character->is_line_feed)
//     {
//       current_X = left_margin;                                                   // reset X position
//       current_Y -= (segment->ascender + segment->descender + segment->line_gap); // move to next line
//     }
//     else
//     {
//       // draw the character at the current position
//       drawCharacter(character, current_X, current_Y, scale);
//       // update the current X position for the next character
//       current_X += character->advance_width;
//     }
//   }

//   current_Y += segment->ascender;
//   // update global XY
//   *Global_X = current_X;
//   *Global_Y = current_Y;
//   // TODO: detect if the current position exceeds the bottom edge
// }

void drawCharacter(struct Character *character, float startX, float startY, float scale)
{
  HAL_Delay(500);
  HAL_GPIO_WritePin(GPIOB, GPIO_PIN_1, GPIO_PIN_SET);
  // get the relative starting position of the character
  float CharStartX = startX + character->left_side_bearing;

  // draw the strokes of the character
  for (int i = 0; i < character->strokeCount; i++)
  {
    struct Stroke *stroke = &character->strokes[i];
    // adjust next stroke position
    for (int j = 0; j < stroke->pointCount; j++)
    {
      stroke->points[j].x = (stroke->points[j].x + CharStartX) * scale;
      stroke->points[j].y = (stroke->points[j].y + startY) * scale;
    }
    drawStroke(stroke);
    // reset the points to the original position
    for (int j = 0; j < stroke->pointCount; j++)
    {
      stroke->points[j].x = (stroke->points[j].x / scale) - CharStartX;
      stroke->points[j].y = (stroke->points[j].y / scale) - startY;
    }
  }
}

// Strokes are one continuous line, quantized to points
void drawStroke(struct Stroke *stroke)
{
  if (stroke->pointCount <= 0)
    return; // No points to draw

  // move to the first point
  moveToAbsoluteXY(stroke->points[0].x, stroke->points[0].y);
  pendown();

  // draw the strokes
  for (int i = 1; i < stroke->pointCount; i++)
  {
    moveToAbsoluteXY(stroke->points[i].x, stroke->points[i].y);
  }
  penup();
}

//
// data handling: free, create, add
//

// Free: Document -> Segment -> Character -> Stroke -> Points

// free all data
void freeAllData(struct Document *document)
{
  if (document)
  {
    freeDocument(document); // Free the document and its segments
    free(document);         // Free the document itself
  }
}

// free document memory
void freeDocument(struct Document *document)
{
  if (document && document->segments)
  {
    for (int i = 0; i < document->segmentCount; i++)
    {
      freeSegment(&document->segments[i]); // Free each segment
    }
    free(document->segments); // Free the segments array
    document->segments = NULL;
  }
}

// free Sergment memory
void freeSegment(struct Segment *segment)
{
  if (segment && segment->characters)
  {
    for (int i = 0; i < segment->characterCount; i++)
    {
      freeCharacter(&segment->characters[i]); // Free each character
    }
    free(segment->characters); // Free the characters array
    segment->characters = NULL;
  }
}

// free character memory
void freeCharacter(struct Character *character)
{
  if (character && character->strokes)
  {
    for (int i = 0; i < character->strokeCount; i++)
    {
      freeStroke(&character->strokes[i]); // Free each stroke
    }
    free(character->strokes); // Free the strokes array
    character->strokes = NULL;
  }
}

// free strokes and point memory
void freeStroke(struct Stroke *stroke)
{
  if (stroke && stroke->points)
  {                       // && to first check stroke, aviod segmentation fault
    free(stroke->points); // Free the points array (no more pointers, should be done)
    stroke->points = NULL;
  }
}

// init the components:

bool initDocument(struct Document *document, float page_width,
                  float page_height, float top_margin,
                  float bottom_margin, float left_margin,
                  float right_margin, struct Segment *segments,
                  int segmentCount)
{
  if (document == NULL)
    return false;

  document->page_width = page_width;
  document->page_height = page_height;
  document->top_margin = top_margin;
  document->bottom_margin = bottom_margin;
  document->left_margin = left_margin;
  document->right_margin = right_margin;
  document->segmentCount = segmentCount;
  // if content is given and segments == NULL,
  // create the segments array with segmentCount,
  // then use AddSegmentToDocument() to later add segments
  if (segmentCount > 0 && segments == NULL)
  {
    document->segments = (struct Segment *)malloc(sizeof(struct Segment) * segmentCount);
    if (document->segments == NULL)
    {
      return false;
    } // alloc failed case
    memset(document->segments, 0, sizeof(struct Segment) * segmentCount); // init mem to zero
  }
  else if (segmentCount > 0 && segments != NULL) // 直接将传入的segments当作segments数组
  {
    document->segments = segments;
  }
  else
  {
    document->segments = NULL;
  }

  return true;
}

bool initSegment(struct Segment *segment, float ascender,
                 float descender, float line_gap,
                 float paragraph_spacing, struct Character *characters,
                 int characterCount)
{
  if (segment == NULL)
    return false;

  segment->ascender = ascender;
  segment->descender = descender;
  segment->line_gap = line_gap;
  segment->paragraph_spacing = paragraph_spacing;
  segment->characterCount = characterCount;

  if (characterCount > 0 && characters == NULL)
  {
    segment->characters = (struct Character *)malloc(sizeof(struct Character) * characterCount);
    if (segment->characters == NULL)
    {
      return false;
    } // alloc failed case
    memset(segment->characters, 0, sizeof(struct Character) * characterCount); // init mem to zero
  }
  else if (characterCount > 0 && characters != NULL)
  {
    segment->characters = characters;
  }
  else
  {
    segment->characters = NULL;
  }

  return true;
}

bool initCharacter(struct Character *character, bool is_line_feed,
                   float advance_width, float left_side_bearing,
                   struct Stroke *strokes, int strokeCount)
{
  if (character == NULL)
    return false;

  character->advance_width = advance_width;
  character->left_side_bearing = left_side_bearing;
  character->is_line_feed = is_line_feed;
  character->strokeCount = strokeCount;

  if (strokeCount > 0 && strokes == NULL)
  {
    character->strokes = (struct Stroke *)malloc(sizeof(struct Stroke) * strokeCount);
    if (character->strokes == NULL)
    {
      return false;
    } // alloc failed case
    memset(character->strokes, 0, sizeof(struct Stroke) * strokeCount); // init mem to zero
  }
  else if (strokeCount > 0 && strokes != NULL)
  {
    character->strokes = strokes;
  }
  else
  {
    character->strokes = NULL;
  }

  return true;
}

bool initStroke(struct Stroke *stroke, struct Point *points,
                int pointCount)
{
  if (stroke == NULL)
    return NULL;

  stroke->pointCount = pointCount;

  if (pointCount > 0 && points == NULL)
  {
    stroke->points = (struct Point *)malloc(sizeof(struct Point) * pointCount);
    if (stroke->points == NULL)
    {
      return NULL;
    } // alloc failed case
    memset(stroke->points, 0, sizeof(struct Point) * pointCount); // init mem to zero
  }
  else if (pointCount > 0 && points != NULL)
  {
    stroke->points = points;
  }
  else
  {
    stroke->points = NULL;
  }

  return stroke;
}

// add:
// use these functions to add data in empty structures, or add new data
// CAUTION: the is no chain adding atm, do them in main

// !!!!!!!!!!!!!!!!!!!!!!!!!!!!!!!!!!!!!!!!!!!!!!!!!!!!!!!!!!!!!!!!!!!!!
// DISCARED: due to very limited ram in the stm32 chip,
//           it is impossible to allocate a large array for the document
// !!!!!!!!!!!!!!!!!!!!!!!!!!!!!!!!!!!!!!!!!!!!!!!!!!!!!!!!!!!!!!!!!!!!!

// WARNING: **CONSIDER REBOOT OVER FREE ATM**
// Mem ownership:
// - Add functions perform shallow copies. After calling:
// The parent structure gains references to the child's data.
// potentially cause double-free issues or memory leaks to the original pointer.

// bool AddSegmentToDocument(struct Document *document, struct Segment *segment)
// {
//   if (document == NULL || segment == NULL)
//     return false; // check for null pointers

//   // expand array for new segment (assume the count is always matched with the object in the array)
//   int newCount = document->segmentCount + 1; // dont do ++ here dumbass
//   struct Segment *newSegments;

//   if (document->segments == NULL) // no segments beforehand
//   {
//     newSegments = (struct Segment *)malloc(sizeof(struct Segment) * newCount);
//     if (newSegments == NULL)
//       return false; // alloc failed case
//   }
//   else // segments already exist
//   {    // BAD: realloc may need to copy the whole array (actually I dont care)
//     newSegments = (struct Segment *)realloc(document->segments, sizeof(struct Segment) * newCount);
//     if (newSegments == NULL)
//       return false; // alloc failed case
//   }

//   document->segments = newSegments; // copy the new segments array
//   // copy the new segment into the array
//   // BAD: this is a shallow copy, but as long as they work and free without error I dont care
//   document->segments[document->segmentCount] = *segment;
//   document->segmentCount++; // increment the segment count

//   return true;
// }

// bool AddCharacterToSegment(struct Segment *segment, struct Character *character)
// {
//   if (segment == NULL || character == NULL)
//     return false;

//   int newCount = segment->characterCount + 1;
//   struct Character *newCharacters;

//   if (segment->characters == NULL)
//   {
//     newCharacters = (struct Character *)malloc(sizeof(struct Character) * newCount);
//     if (newCharacters == NULL)
//       return false;
//   }
//   else
//   {
//     newCharacters = (struct Character *)realloc(segment->characters, sizeof(struct Character) * newCount);
//     if (newCharacters == NULL)
//       return false;
//   }

//   segment->characters = newCharacters;
//   segment->characters[segment->characterCount] = *character;
//   segment->characterCount++;

//   return true;
// }

// bool AddStrokeToCharacter(struct Character *character, struct Stroke *stroke)
// {
//   if (character == NULL || stroke == NULL)
//     return false;

//   int newCount = character->strokeCount + 1;
//   struct Stroke *newStrokes;

//   if (character->strokes == NULL)
//   {
//     newStrokes = (struct Stroke *)malloc(sizeof(struct Stroke) * newCount);
//     if (newStrokes == NULL)
//       return false;
//   }
//   else
//   {
//     newStrokes = (struct Stroke *)realloc(character->strokes, sizeof(struct Stroke) * newCount);
//     if (newStrokes == NULL)
//       return false;
//   }

//   character->strokes = newStrokes;
//   character->strokes[character->strokeCount] = *stroke;
//   character->strokeCount++;

//   return true;
// }

// bool AddPointToStroke(struct Stroke *stroke, struct Point *point)
// {
//   if (stroke == NULL || point == NULL)
//     return false;

//   int newCount = stroke->pointCount + 1;
//   struct Point *newPoints;

//   if (stroke->points == NULL)
//   {
//     newPoints = (struct Point *)malloc(sizeof(struct Point) * newCount);
//     if (newPoints == NULL)
//       return false; // alloc failed case
//   }
//   else
//   {
//     newPoints = (struct Point *)realloc(stroke->points, sizeof(struct Point) * newCount);
//     if (newPoints == NULL)
//       return false; // alloc failed case
//   }

//   stroke->points = newPoints;
//   stroke->points[stroke->pointCount] = *point;
//   stroke->pointCount++;

//   return true;
// }

//
// data parsing
//

// 解析 JSON
bool parseDocument(struct Document *document, cJSON *json)
{
  cJSON *raw_page_width = cJSON_GetObjectItem(json, "page_width");
  if (raw_page_width == NULL || !cJSON_IsNumber(raw_page_width))
  {
    return false;
  }
  float page_width = (float)(raw_page_width->valuedouble);
  cJSON *raw_page_height = cJSON_GetObjectItem(json, "page_height");
  if (raw_page_height == NULL || !cJSON_IsNumber(raw_page_height))
  {
    return false;
  }
  float page_height = (float)(raw_page_height->valuedouble);
  cJSON *raw_top_margin = cJSON_GetObjectItem(json, "top_margin");
  if (raw_top_margin == NULL || !cJSON_IsNumber(raw_top_margin))
  {
    return false;
  }
  float top_margin = (float)(raw_top_margin->valuedouble);
  cJSON *raw_bottom_margin = cJSON_GetObjectItem(json, "bottom_margin");
  if (raw_bottom_margin == NULL || !cJSON_IsNumber(raw_bottom_margin))
  {
    return false;
  }
  float bottom_margin = (float)(raw_bottom_margin->valuedouble);
  cJSON *raw_left_margin = cJSON_GetObjectItem(json, "left_margin");
  if (raw_left_margin == NULL || !cJSON_IsNumber(raw_left_margin))
  {
    return false;
  }
  float left_margin = (float)(raw_left_margin->valuedouble);
  cJSON *raw_right_margin = cJSON_GetObjectItem(json, "right_margin");
  if (raw_right_margin == NULL || !cJSON_IsNumber(raw_right_margin))
  {
    return false;
  }
  float right_margin = (float)(raw_right_margin->valuedouble);

  // 获取 segments 数组
  cJSON *raw_segments = cJSON_GetObjectItem(json, "segments");
  if (!cJSON_IsArray(raw_segments))
    return false;

  int segmentCount = cJSON_GetArraySize(raw_segments);
  struct Segment *segments = NULL;
  if (segmentCount > 0)
    segments = (struct Segment *)malloc(sizeof(struct Segment) * segmentCount);
  // 以下可能有问题
  for (int i = 0; i < segmentCount; i++)
  {
    // 获取每个 segment 对象
    cJSON *seg_item = cJSON_GetArrayItem(raw_segments, i);
    // 对该 segment 深拷贝（递归拷贝所有子项）
    // cJSON *new_seg_json = cJSON_Duplicate(seg_item, 1);
    if (seg_item != NULL)
    {
      // new_seg_json 就是一个独立的新的 JSON 对象
      // 这里可以传给其它函数处理，比如：
      if (!parseSegment(&segments[i], seg_item))
      {
        return false;
      }
    }
    else
    {
      HAL_Delay(500);
      HAL_GPIO_WritePin(GPIOB, GPIO_PIN_5, GPIO_PIN_SET);
    }
    // 使用后释放内存
    // cJSON_Delete(new_seg_json);
  }
  // 初始化 Document 对象
  if (!initDocument(document, page_width, page_height, top_margin, bottom_margin, left_margin, right_margin, segments, segmentCount))
  {
    return false;
  }

  return true;
}

bool parseSegment(struct Segment *segment, cJSON *json)
{
  cJSON *raw_ascender = cJSON_GetObjectItem(json, "ascender");
  if (raw_ascender == NULL || !cJSON_IsNumber(raw_ascender))
  {
    return false;
  }
  float ascender = (float)(raw_ascender->valuedouble);
  cJSON *raw_descender = cJSON_GetObjectItem(json, "descender");
  if (raw_descender == NULL || !cJSON_IsNumber(raw_descender))
  {
    return false;
  }
  float descender = (float)(raw_descender->valuedouble);
  cJSON *raw_line_gap = cJSON_GetObjectItem(json, "line_gap");
  if (raw_line_gap == NULL || !cJSON_IsNumber(raw_line_gap))
  {
    return false;
  }
  float line_gap = (float)(raw_line_gap->valuedouble);
  cJSON *raw_paragraph_spacing = cJSON_GetObjectItem(json, "paragraph_spacing");
  if (raw_paragraph_spacing == NULL || !cJSON_IsNumber(raw_paragraph_spacing))
  {
    return false;
  }
  float paragraph_spacing = (float)(raw_paragraph_spacing->valuedouble);

  // 获取 characters 数组
  cJSON *raw_characters = cJSON_GetObjectItem(json, "characters");
  if (!cJSON_IsArray(raw_characters))
    return false;

  int characterCount = cJSON_GetArraySize(raw_characters);
  struct Character *characters = NULL;
  if (characterCount > 0)
    characters = (struct Character *)malloc(sizeof(struct Character) * characterCount);
  for (int i = 0; i < characterCount; i++)
  {
    // 获取每个 character 对象
    cJSON *char_item = cJSON_GetArrayItem(raw_characters, i);
    // 对该 character 深拷贝（递归拷贝所有子项）
    // cJSON *new_char_json = cJSON_Duplicate(char_item, 1);
    if (char_item != NULL)
    {
      // new_char_json 就是一个独立的新的 JSON 对象
      // 这里可以传给其它函数处理，比如：
      if (!parseCharacter(&characters[i], char_item))
      {
        return false;
      }
    }
    // 使用后释放内存
    // cJSON_Delete(new_char_json);
  }
  // 初始化 Segment 对象
  if (!initSegment(segment, ascender, descender, line_gap, paragraph_spacing, characters, characterCount))
  {
    return false;
  }

  return true;
}

bool parseCharacter(struct Character *character, cJSON *json)
{
  cJSON *raw_is_line_feed = cJSON_GetObjectItem(json, "is_line_feed");
  if (raw_is_line_feed == NULL || !cJSON_IsBool(raw_is_line_feed))
  {
    return false;
  }
  bool is_line_feed = (bool)(raw_is_line_feed->valueint);
  cJSON *raw_advance_width = cJSON_GetObjectItem(json, "advance_width");
  if (raw_advance_width == NULL || !cJSON_IsNumber(raw_advance_width))
  {
    return false;
  }
  float advance_width = (float)(raw_advance_width->valuedouble);
  cJSON *raw_left_side_bearing = cJSON_GetObjectItem(json, "left_side_bearing");
  if (raw_left_side_bearing == NULL || !cJSON_IsNumber(raw_left_side_bearing))
  {
    return false;
  }
  float left_side_bearing = (float)(raw_left_side_bearing->valuedouble);

  // 获取 strokes 数组
  cJSON *raw_strokes = cJSON_GetObjectItem(json, "strokes");
  if (!cJSON_IsArray(raw_strokes))
  {
    return false;
  }

  int strokeCount = cJSON_GetArraySize(raw_strokes);
  struct Stroke *strokes = NULL;
  if (strokeCount > 0)
    strokes = (struct Stroke *)malloc(sizeof(struct Stroke) * strokeCount);
  for (int i = 0; i < strokeCount; i++)
  {
    // 获取每个 stroke 对象
    cJSON *stroke_item = cJSON_GetArrayItem(raw_strokes, i);
    // 对该 stroke 深拷贝（递归拷贝所有子项）
    // cJSON *new_stroke_json = cJSON_Duplicate(stroke_item, 1);
    if (!cJSON_IsArray(stroke_item))
    {
      // cJSON_free(new_stroke_json);
      return false;
    }
    strokes[i].pointCount = cJSON_GetArraySize(stroke_item);
    if (strokes[i].pointCount > 0)
      strokes[i].points = (struct Point *)malloc(sizeof(struct Point) * strokes[i].pointCount);
    else
      strokes[i].points = NULL;
    for (int j = 0; j < strokes[i].pointCount; j++)
    {
      cJSON *point_item = cJSON_GetArrayItem(stroke_item, j);
      // cJSON *new_point_json = cJSON_Duplicate(point_item, 1);
      if (!cJSON_IsArray(point_item))
      {
        HAL_GPIO_WritePin(GPIOB, GPIO_PIN_1, GPIO_PIN_RESET);
        // cJSON_free(new_point_json);
        return false;
      }
      cJSON *raw_x = cJSON_GetArrayItem(point_item, 0);
      if (!cJSON_IsNumber(raw_x))
      {
        // cJSON_free(new_point_json);
        return false;
      }
      strokes[i].points[j].x = (float)(raw_x->valuedouble);
      cJSON *raw_y = cJSON_GetArrayItem(point_item, 1);
      if (!cJSON_IsNumber(raw_y))
      {
        // cJSON_free(new_point_json);
        return false;
      }
      strokes[i].points[j].y = (float)(raw_y->valuedouble);
      // cJSON_free(new_point_json);
    }
    // 使用后释放内存
    // cJSON_Delete(new_stroke_json);
  }
  // 初始化 Character 对象
  if (!initCharacter(character, is_line_feed, advance_width, left_side_bearing, strokes, strokeCount))
  {
    return false;
  }

  return true;
}

void processInfo(uint8_t *buffer, uint16_t length)
{
  // 动态分配缓冲区，确保能够保存整个数据并以 '\0' 结尾
  char *info_data = (char *)malloc(length + 1);
  if (info_data == NULL)
  {
    const char *error_response = "{\"error\":\"内存分配失败\"}";
    CDC_Transmit_FS((uint8_t *)error_response, strlen(error_response));
    return;
  }
  memcpy(info_data, buffer, length);
  info_data[length] = '\0';

  cJSON *info_root = cJSON_Parse(info_data);
  free(info_data); // 解析后释放动态分配的内存

  if (info_root == NULL)
  {
    const char *error_response = "{\"error\":\"JSON解析失败\"}";
    CDC_Transmit_FS((uint8_t *)error_response, strlen(error_response));
    return;
  }

  // 解析 Document 结构（包括页面参数、segments 等）
  currentDoc = (struct Document *)malloc(sizeof(struct Document));
  if (currentDoc == NULL)
  {
    const char *error_response = "{\"error\":\"内存分配失败\"}";
    CDC_Transmit_FS((uint8_t *)error_response, strlen(error_response));
    cJSON_Delete(info_root);
    return;
  }
  if (!parseDocument(currentDoc, info_root))
  {
    const char *error_response = "{\"error\":\"解析Document失败\"}";
    CDC_Transmit_FS((uint8_t *)error_response, strlen(error_response));
    cJSON_Delete(info_root);
    return;
  }
  cJSON_Delete(info_root);
}

void processChar(uint8_t *buffer, uint16_t length)
{
  // 动态分配缓冲区，确保能够保存整个数据并以 '\0' 结尾
  char *char_data = (char *)malloc(length + 1);
  if (char_data == NULL)
  {
    const char *error_response = "{\"error\":\"内存分配失败\"}";
    CDC_Transmit_FS((uint8_t *)error_response, strlen(error_response));
    return;
  }
  memcpy(char_data, buffer, length);
  char_data[length] = '\0';

  cJSON *char_root = cJSON_Parse(char_data);
  free(char_data); // 解析后释放动态分配的内存

  if (char_root == NULL)
  {
    const char *error_response = "{\"error\":\"JSON解析失败\"}";
    CDC_Transmit_FS((uint8_t *)error_response, strlen(error_response));
    return;
  }

  // 解析 Character 结构（包括 strokes、points 等）
  currentChar = (struct Character *)malloc(sizeof(struct Character));
  if (currentChar == NULL) // Fix? : wrong variable
  {
    const char *error_response = "{\"error\":\"内存分配失败\"}";
    CDC_Transmit_FS((uint8_t *)error_response, strlen(error_response));
    cJSON_Delete(char_root);
    return;
  }
  if (!parseCharacter(currentChar, char_root))
  {
    const char *error_response = "{\"error\":\"解析Document失败\"}";
    CDC_Transmit_FS((uint8_t *)error_response, strlen(error_response));
    cJSON_Delete(char_root);
    return;
  }

  cJSON_Delete(char_root); //Fix? : Json was not freed after parseCharacter!
}

// // RPC 处理函数，解析收到的 JSON 数据并绘制文档
// void processRpcRequest(uint8_t *buffer, uint16_t length)
// {
//   HAL_GPIO_WritePin(GPIOB, GPIO_PIN_5, GPIO_PIN_RESET);
//   // 动态分配缓冲区，确保能够保存整个数据并以 '\0' 结尾
//   char *json_data = (char *)malloc(length + 1);
//   if (json_data == NULL)
//   {
//     const char *error_response = "{\"error\":\"内存分配失败\"}";
//     CDC_Transmit_FS((uint8_t *)error_response, strlen(error_response));
//     return;
//   }
//   memcpy(json_data, buffer, length);
//   json_data[length] = '\0';

//   cJSON *root = cJSON_Parse(json_data);
//   free(json_data); // 解析后释放动态分配的内存
//   if (root == NULL)
//   {
//     const char *error_response = "{\"error\":\"JSON解析失败\"}";
//     CDC_Transmit_FS((uint8_t *)error_response, strlen(error_response));
//     return;
//   }

//   // 解析 Document 结构（包括页面参数、segments、characters、strokes 等）
//   struct Document *document = (struct Document *)malloc(sizeof(struct Document));
//   if (document == NULL)
//   {
//     const char *error_response = "{\"error\":\"内存分配失败\"}";
//     CDC_Transmit_FS((uint8_t *)error_response, strlen(error_response));
//     cJSON_Delete(root);
//     return;
//   }
//   if (!parseDocument(document, root))
//   {
//     const char *error_response = "{\"error\":\"解析Document失败\"}";
//     CDC_Transmit_FS((uint8_t *)error_response, strlen(error_response));
//     cJSON_Delete(root);
//     return;
//   }

//   CDC_Transmit_FS(buffer, length);
//   // 调用绘制函数，开始绘制文档（你的 drawDocument() 已定义）
//   HAL_GPIO_WritePin(GPIOC, GPIO_PIN_7, GPIO_PIN_RESET); // enable
//   drawDocument(document);
//   HAL_GPIO_WritePin(GPIOC, GPIO_PIN_7, GPIO_PIN_SET); // disable

//   // 绘制完成后释放内存（注意本示例中可能需要在实际工程中完善内存管理）
//   freeAllData(document);

//   const char *success_response = "{\"result\":\"绘制完成\"}";
//   CDC_Transmit_FS((uint8_t *)success_response, strlen(success_response));
//   cJSON_Delete(root);
// }
/* USER CODE END 4 */

void Error_Handler(void)
{
  __disable_irq();
  while (1)
  {
  }
}
